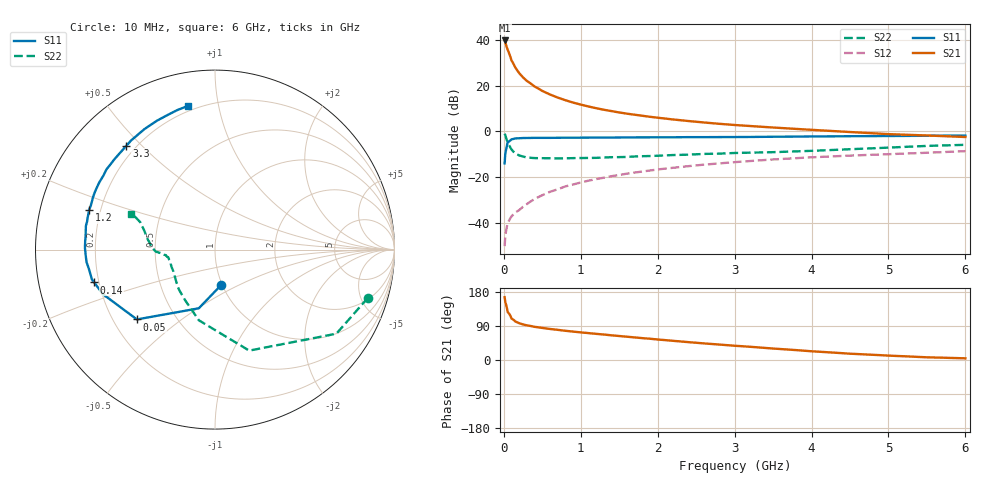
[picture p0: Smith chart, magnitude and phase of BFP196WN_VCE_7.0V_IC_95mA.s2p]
! (c) 2017  Infineon Technologies AG, Munich
! Infineon Technologies  Discrete & RF Semiconductors
! BFP196WN
! VCE =  7.0 V,  IC =  95 mA
! Common Emitter S-Parameters:  Jan 2017
# GHz  S  MA  R  50
!  f  S11  S21  S12  S22
! GHz  MAG  ANG  MAG  ANG  MAG  ANG  MAG  ANG
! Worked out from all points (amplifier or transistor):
!   77 points, 10 MHz to 6 GHz, reference 50 ohm
!   highest |S21| = 39.8 dB at 10 MHz (marker M1)
!   |S21| within 3 dB of that: start of sweep to 38.81 MHz
!   unconditionally stable (mu >= 1): 494.4 MHz to 2.39 GHz
!   at 130 MHz: K = 0.67, MSG = 32.7 dB, |S12| = -36.1 dB
!   at 2.2 GHz: K = 1.02, MAG = 9.8 dB, |S12| = -15.9 dB
!   at 6 GHz: K = 0.90, MSG = 3.1 dB, |S12| = -8.6 dB
!   S11 on the Smith chart (normalised r, x): 10 MHz: 0.99, -0.41; 50 MHz: 0.30, -0.35; 140 MHz: 0.18, -0.13; 1.2 GHz: 0.16, +0.15; 3.3 GHz: 0.16, +0.45; 6 GHz: 0.17, +0.82
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0.01  0.2002 -80.1  97.79 165.8  0.0031 76.8  0.8927 -17.6
0.02  0.339 -105.4  87.48 152.1  0.0054 70.2  0.8227 -34.7
0.05  0.5837 -138.2  61.12 126.5  0.0098 54.9  0.5943 -71.3
0.1  0.6722 -158.3  35.72 109.3  0.0139 52.8  0.4041 -102.8
0.14  0.6978 -164.8  26.98 103.6  0.0163 54.5  0.3399 -116.4
0.15  0.7055 -166.4  24.85 101.6  0.0169 54.8  0.3275 -120.6
0.2  0.7108 -171.3  18.86 97.1  0.0191 59.6  0.2994 -132.3
0.25  0.7187 -174.3  15.2 93.8  0.0226 62.6  0.2822 -139.5
0.3  0.7208 -177.0  12.72 91.4  0.0259 64.0  0.27 -145.8
0.4  0.7246 179.3  9.613 87.5  0.0333 68.0  0.2616 -152.9
0.5  0.7248 176.5  7.702 84.6  0.0404 69.7  0.2606 -158.1
0.7  0.7274 171.9  5.513 79.6  0.0543 71.5  0.2573 -164.4
0.9  0.7295 167.6  4.284 75.0  0.0692 71.3  0.2613 -167.4
1.1  0.7331 164.1  3.517 71.0  0.084 71.0  0.2634 -170.1
1.2  0.7358 162.5  3.227 69.0  0.0907 70.5  0.2648 -171.0
1.6  0.7405 156.0  2.452 61.5  0.1193 68.3  0.2774 -173.6
2.1  0.7455 148.1  1.913 52.4  0.1541 64.6  0.2997 -176.0
3.1  0.7563 133.3  1.35 36.3  0.2193 56.1  0.3411 179.8
3.3  0.7606 130.5  1.283 33.4  0.2317 54.4  0.3468 178.5
4.1  0.7792 119.1  1.062 21.8  0.2767 47.4  0.383 170.3
5.1  0.7971 108.4  0.863 10.7  0.3231 39.7  0.4511 159.4
6  0.8146 100.6  0.756 4.4  0.3709 33.6  0.5104 156.9
